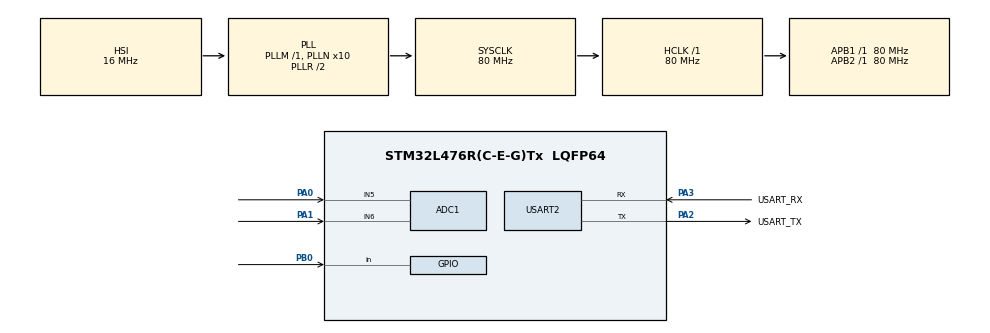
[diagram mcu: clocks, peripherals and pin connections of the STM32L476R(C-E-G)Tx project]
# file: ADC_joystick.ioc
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ADC1.Channel-1\#ChannelRegularConversion=ADC_CHANNEL_5
ADC1.NbrOfConversionFlag=1
ADC1.OffsetNumber-1\#ChannelRegularConversion=ADC_OFFSET_NONE
ADC1.Rank-1\#ChannelRegularConversion=1
ADC1.SamplingTime-1\#ChannelRegularConversion=ADC_SAMPLETIME_2CYCLES_5
ADC1.master=1
Mcu.Family=STM32L4
Mcu.Name=STM32L476R(C-E-G)Tx
Mcu.Package=LQFP64
NVIC.ADC1_2_IRQn=true\:0\:0\:false\:false\:true\:true\:true\:true
NVIC.PriorityGroup=NVIC_PRIORITYGROUP_4
PA0.Signal=ADCx_IN5
PA1.Signal=ADCx_IN6
PA2.GPIO_Label=USART_TX
PA2.GPIO_Mode=GPIO_MODE_AF_PP
PA2.GPIO_PuPd=GPIO_NOPULL
PA2.GPIO_Speed=GPIO_SPEED_FREQ_VERY_HIGH
PA2.Mode=Asynchronous
PA2.Signal=USART2_TX
PA3.GPIO_Label=USART_RX
PA3.GPIO_Mode=GPIO_MODE_AF_PP
PA3.GPIO_PuPd=GPIO_NOPULL
PA3.GPIO_Speed=GPIO_SPEED_FREQ_VERY_HIGH
PA3.Mode=Asynchronous
PA3.Signal=USART2_RX
PB0.GPIO_PuPd=GPIO_PULLUP
PB0.Signal=GPIO_Input
PB3\ (JTDO-TRACESWO).GPIO_Label=SWO
PB3\ (JTDO-TRACESWO).Signal=SYS_JTDO-SWO
ProjectManager.HeapSize=0x200
ProjectManager.StackSize=0x400
ProjectManager.TargetToolchain=STM32CubeIDE
RCC.ADCFreq_Value=64000000
RCC.AHBFreq_Value=80000000
RCC.APB1Freq_Value=80000000
RCC.APB1TimFreq_Value=80000000
RCC.APB2Freq_Value=80000000
RCC.APB2TimFreq_Value=80000000
RCC.CortexFreq_Value=80000000
RCC.HCLKFreq_Value=80000000
RCC.HSE_VALUE=8000000
RCC.HSI_VALUE=16000000
RCC.LSE_VALUE=32768
RCC.MSI_VALUE=4000000
RCC.PLLN=10
RCC.PLLSourceVirtual=RCC_PLLSOURCE_HSI
RCC.PREFETCH_ENABLE=1
RCC.SYSCLKFreq_VALUE=80000000
RCC.SYSCLKSource=RCC_SYSCLKSOURCE_PLLCLK
RCC.USBFreq_Value=64000000
RCC.VCOOutputFreq_Value=160000000
SH.ADCx_IN5.0=ADC1_IN5,IN5-Single-Ended
SH.ADCx_IN6.0=ADC1_IN6,IN6-Single-Ended
USART2.VirtualMode-Asynchronous=VM_ASYNC
board=NUCLEO-L476RG

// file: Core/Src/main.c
/* USER CODE BEGIN Header */
/**
  ******************************************************************************
  * @file           : main.c
  * @brief          : Main program body
  ******************************************************************************
  * @attention
  *
  * Copyright (c) 2025 STMicroelectronics.
  * All rights reserved.
  *
  * This software is licensed under terms that can be found in the LICENSE file
  * in the root directory of this software component.
  * If no LICENSE file comes with this software, it is provided AS-IS.
  *
  ******************************************************************************
  */
/* USER CODE END Header */
#include "main.h"

ADC_HandleTypeDef hadc1;

UART_HandleTypeDef huart2;

/* USER CODE BEGIN PV */
uint32_t vrx_val = 0; //x direction value
uint32_t vry_val = 0; //y direction value
uint8_t sw_state = 1; //joystick button press
ADC_ChannelConfTypeDef sConfig = {0}; //ADC channel configuration
/* USER CODE END PV */

void SystemClock_Config(void);
static void MX_GPIO_Init(void);
static void MX_USART2_UART_Init(void);
static void MX_ADC1_Init(void);

int main(void)
{

  /* MCU Configuration--------------------------------------------------------*/

  /* Reset of all peripherals, Initializes the Flash interface and the Systick. */
  HAL_Init();

  /* Configure the system clock */
  SystemClock_Config();

  /* Initialize all configured peripherals */
  MX_GPIO_Init();
  MX_USART2_UART_Init();
  MX_ADC1_Init();

  /* Infinite loop */
  while (1)
  {

    /* USER CODE BEGIN 3 */
	  //read VRx
	  sConfig.Channel = ADC_CHANNEL_5;        // PA0
	  sConfig.Rank = ADC_REGULAR_RANK_1;
	  sConfig.SamplingTime = ADC_SAMPLETIME_92CYCLES_5;
	  HAL_ADC_ConfigChannel(&hadc1, &sConfig);

	  HAL_ADC_Start(&hadc1);
	  HAL_ADC_PollForConversion(&hadc1, HAL_MAX_DELAY);
	  vrx_val = HAL_ADC_GetValue(&hadc1);

	  //read VRy
	  sConfig.Channel = ADC_CHANNEL_6;        // PA1
	  HAL_ADC_ConfigChannel(&hadc1, &sConfig);

	  HAL_ADC_Start(&hadc1);
	  HAL_ADC_PollForConversion(&hadc1, HAL_MAX_DELAY);
	  vry_val = HAL_ADC_GetValue(&hadc1);

	  //read SW
	  sw_state = HAL_GPIO_ReadPin(GPIOB, GPIO_PIN_0);

	  __NOP(); //debug pause
  }
  /* USER CODE END 3 */
}

void SystemClock_Config(void)
{
  RCC_OscInitTypeDef RCC_OscInitStruct = {0};
  RCC_ClkInitTypeDef RCC_ClkInitStruct = {0};

  /** Configure the main internal regulator output voltage
  */
  if (HAL_PWREx_ControlVoltageScaling(PWR_REGULATOR_VOLTAGE_SCALE1) != HAL_OK)
  {
    Error_Handler();
  }

  /** Initializes the RCC Oscillators according to the specified parameters
  * in the RCC_OscInitTypeDef structure.
  */
  RCC_OscInitStruct.OscillatorType = RCC_OSCILLATORTYPE_HSI;
  RCC_OscInitStruct.HSIState = RCC_HSI_ON;
  RCC_OscInitStruct.HSICalibrationValue = RCC_HSICALIBRATION_DEFAULT;
  RCC_OscInitStruct.PLL.PLLState = RCC_PLL_ON;
  RCC_OscInitStruct.PLL.PLLSource = RCC_PLLSOURCE_HSI;
  RCC_OscInitStruct.PLL.PLLM = 1;
  RCC_OscInitStruct.PLL.PLLN = 10;
  RCC_OscInitStruct.PLL.PLLP = RCC_PLLP_DIV7;
  RCC_OscInitStruct.PLL.PLLQ = RCC_PLLQ_DIV2;
  RCC_OscInitStruct.PLL.PLLR = RCC_PLLR_DIV2;
  if (HAL_RCC_OscConfig(&RCC_OscInitStruct) != HAL_OK)
  {
    Error_Handler();
  }

  /** Initializes the CPU, AHB and APB buses clocks
  */
  RCC_ClkInitStruct.ClockType = RCC_CLOCKTYPE_HCLK|RCC_CLOCKTYPE_SYSCLK
                              |RCC_CLOCKTYPE_PCLK1|RCC_CLOCKTYPE_PCLK2;
  RCC_ClkInitStruct.SYSCLKSource = RCC_SYSCLKSOURCE_PLLCLK;
  RCC_ClkInitStruct.AHBCLKDivider = RCC_SYSCLK_DIV1;
  RCC_ClkInitStruct.APB1CLKDivider = RCC_HCLK_DIV1;
  RCC_ClkInitStruct.APB2CLKDivider = RCC_HCLK_DIV1;

  if (HAL_RCC_ClockConfig(&RCC_ClkInitStruct, FLASH_LATENCY_4) != HAL_OK)
  {
    Error_Handler();
  }
}

static void MX_ADC1_Init(void)
{

  ADC_MultiModeTypeDef multimode = {0};
  ADC_ChannelConfTypeDef sConfig = {0};

  /** Common config
  */
  hadc1.Instance = ADC1;
  hadc1.Init.ClockPrescaler = ADC_CLOCK_ASYNC_DIV1;
  hadc1.Init.Resolution = ADC_RESOLUTION_12B;
  hadc1.Init.DataAlign = ADC_DATAALIGN_RIGHT;
  hadc1.Init.ScanConvMode = ADC_SCAN_DISABLE;
  hadc1.Init.EOCSelection = ADC_EOC_SINGLE_CONV;
  hadc1.Init.LowPowerAutoWait = DISABLE;
  hadc1.Init.ContinuousConvMode = DISABLE;
  hadc1.Init.NbrOfConversion = 1;
  hadc1.Init.DiscontinuousConvMode = DISABLE;
  hadc1.Init.ExternalTrigConv = ADC_SOFTWARE_START;
  hadc1.Init.ExternalTrigConvEdge = ADC_EXTERNALTRIGCONVEDGE_NONE;
  hadc1.Init.DMAContinuousRequests = DISABLE;
  hadc1.Init.Overrun = ADC_OVR_DATA_PRESERVED;
  hadc1.Init.OversamplingMode = DISABLE;
  if (HAL_ADC_Init(&hadc1) != HAL_OK)
  {
    Error_Handler();
  }

  /** Configure the ADC multi-mode
  */
  multimode.Mode = ADC_MODE_INDEPENDENT;
  if (HAL_ADCEx_MultiModeConfigChannel(&hadc1, &multimode) != HAL_OK)
  {
    Error_Handler();
  }

  /** Configure Regular Channel
  */
  sConfig.Channel = ADC_CHANNEL_5;
  sConfig.Rank = ADC_REGULAR_RANK_1;
  sConfig.SamplingTime = ADC_SAMPLETIME_2CYCLES_5;
  sConfig.SingleDiff = ADC_SINGLE_ENDED;
  sConfig.OffsetNumber = ADC_OFFSET_NONE;
  sConfig.Offset = 0;
  if (HAL_ADC_ConfigChannel(&hadc1, &sConfig) != HAL_OK)
  {
    Error_Handler();
  }

}

static void MX_USART2_UART_Init(void)
{

  huart2.Instance = USART2;
  huart2.Init.BaudRate = 115200;
  huart2.Init.WordLength = UART_WORDLENGTH_8B;
  huart2.Init.StopBits = UART_STOPBITS_1;
  huart2.Init.Parity = UART_PARITY_NONE;
  huart2.Init.Mode = UART_MODE_TX_RX;
  huart2.Init.HwFlowCtl = UART_HWCONTROL_NONE;
  huart2.Init.OverSampling = UART_OVERSAMPLING_16;
  huart2.Init.OneBitSampling = UART_ONE_BIT_SAMPLE_DISABLE;
  huart2.AdvancedInit.AdvFeatureInit = UART_ADVFEATURE_NO_INIT;
  if (HAL_UART_Init(&huart2) != HAL_OK)
  {
    Error_Handler();
  }

}

static void MX_GPIO_Init(void)
{
  GPIO_InitTypeDef GPIO_InitStruct = {0};

  /* GPIO Ports Clock Enable */
  __HAL_RCC_GPIOA_CLK_ENABLE();
  __HAL_RCC_GPIOB_CLK_ENABLE();

  /*Configure GPIO pin : PB0 */
  GPIO_InitStruct.Pin = GPIO_PIN_0;
  GPIO_InitStruct.Mode = GPIO_MODE_INPUT;
  GPIO_InitStruct.Pull = GPIO_PULLUP;
  HAL_GPIO_Init(GPIOB, &GPIO_InitStruct);

}

void Error_Handler(void)
{
  __disable_irq();
  while (1)
  {
  }
}
